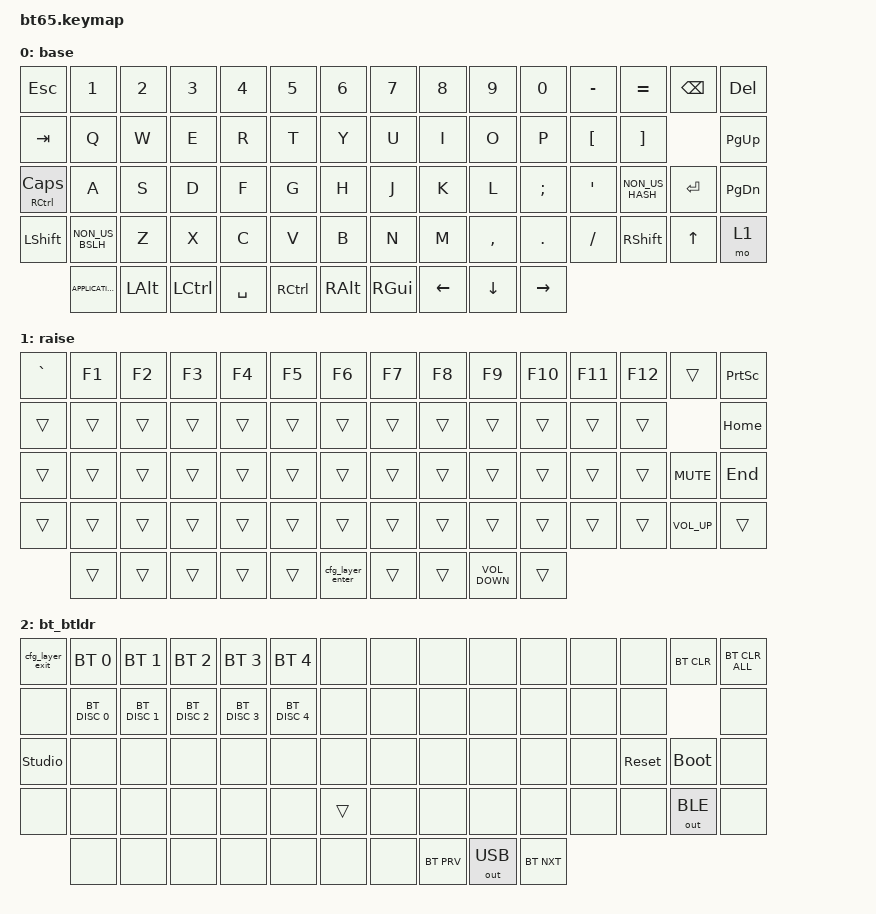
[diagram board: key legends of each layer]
#include <behaviors.dtsi>
#include <dt-bindings/zmk/backlight.h>
#include <dt-bindings/zmk/bt.h>
#include <dt-bindings/zmk/keys.h>
#include <dt-bindings/zmk/outputs.h>
#include <dt-bindings/zmk/rgb.h>

/ {
    combos { compatible = "zmk,combos"; };

    macros {
        lights_off: lights_off {
            compatible = "zmk,behavior-macro";
            #binding-cells = <0>;
            bindings = <&bl BL_OFF &rgb_ug RGB_OFF>;
            label = "lights_off";
        };

        lights_on: lights_on {
            compatible = "zmk,behavior-macro";
            #binding-cells = <0>;
            bindings = <&bl BL_ON &rgb_ug RGB_ON>;
            label = "LIGHTS_ON";
        };

        cfg_layer_exit: cfg_layer_exit {
            compatible = "zmk,behavior-macro";
            #binding-cells = <0>;
            bindings = <&bl BL_OFF &rgb_ug RGB_OFF &to 0>;
            label = "CFG_LAYER_EXIT";
        };

        cfg_layer_enter: cfg_layer_enter {
            compatible = "zmk,behavior-macro";
            #binding-cells = <0>;
            bindings = <&bl BL_ON &rgb_ug RGB_ON &to 2>;
            label = "CFG_LAYER_ENTER";
        };
    };

    behaviors {
        Space_FN: Space_FN {
            compatible = "zmk,behavior-hold-tap";
            bindings = <&mo>, <&kp>;

            #binding-cells = <2>;
            tapping-term-ms = <300>;
            flavor = "tap-preferred";
        };
    };

    keymap {
        compatible = "zmk,keymap";

        base {
            // ------------------------------------------------------------------------------------------------------------
            // |  `  |  1  |  2  |  3  |  4  |  5  |  6  |  7  |  8  |  9  |  0  |  -  |  =  |BKSP | INS		|
            // | TAB  |  Q  |  W  |  E  |  R  |  T  |  Y  |  U  |  I  |  O  |  P  |  [  |  ]  |   \    | DEL		|
            // | CAPS  |  A  |  S  |  D  |  F  |  G  |  H  |  J  |  K  |  L  |  ;  |  '  |     ENTER    |PGUP	|
            // |  SHIFT  |  Z  |  X  |  C  |  V  |  B  |  N  |  M  |  ,  |  .  | /   |   SHIFT  | UP   | PGDN|
            // |  CTL  |  WIN  |  ALT  |            SPACE               | ALT | 1    |  MENU| LEFT |  DOWN    | RIGHT	|
            // ------------------------------------------------------------------------------------------------------------

            bindings = <
&kp ESCAPE      &kp N1             &kp N2        &kp N3     &kp N4     &kp N5     &kp N6    &kp N7    &kp N8    &kp N9     &kp N0     &kp MINUS  &kp EQUAL        &kp BACKSPACE  &kp DEL
&kp TAB         &kp Q              &kp W         &kp E      &kp R      &kp T      &kp Y     &kp U     &kp I     &kp O      &kp P      &kp LBKT   &kp RBKT                        &kp PAGE_UP
&mt RCTRL CLCK  &kp A              &kp S         &kp D      &kp F      &kp G      &kp H     &kp J     &kp K     &kp L      &kp SEMI   &kp SQT    &kp NON_US_HASH  &kp RET        &kp PAGE_DOWN
&kp LSHFT       &kp NON_US_BSLH    &kp Z         &kp X      &kp C      &kp V      &kp B     &kp N     &kp M     &kp COMMA  &kp DOT    &kp FSLH   &kp RSHFT        &kp UP         &mo 1
                &kp K_APPLICATION  &kp LEFT_ALT  &kp LCTRL  &kp SPACE  &kp RCTRL  &kp RALT  &kp RGUI  &kp LEFT  &kp DOWN   &kp RIGHT
            >;
        };

        raise {
            bindings = <
&kp GRAVE  &kp F1  &kp F2  &kp F3  &kp F4  &kp F5  &kp F6            &kp F7  &kp F8  &kp F9             &kp F10  &kp F11  &kp F12  &trans           &kp PRINTSCREEN
&trans     &trans  &trans  &trans  &trans  &trans  &trans            &trans  &trans  &trans             &trans   &trans   &trans                    &kp HOME
&trans     &trans  &trans  &trans  &trans  &trans  &trans            &trans  &trans  &trans             &trans   &trans   &trans   &kp C_MUTE       &kp END
&trans     &trans  &trans  &trans  &trans  &trans  &trans            &trans  &trans  &trans             &trans   &trans   &trans   &kp C_VOLUME_UP  &trans
           &trans  &trans  &trans  &trans  &trans  &cfg_layer_enter  &trans  &trans  &kp C_VOLUME_DOWN  &trans
            >;
        };

        bt_btldr {
            bindings = <
&cfg_layer_exit  &bt BT_SEL 0   &bt BT_SEL 1   &bt BT_SEL 2   &bt BT_SEL 3   &bt BT_SEL 4   &none   &none  &none       &none         &none       &none  &none       &bt BT_CLR    &bt BT_CLR_ALL
&none            &bt BT_DISC 0  &bt BT_DISC 1  &bt BT_DISC 2  &bt BT_DISC 3  &bt BT_DISC 4  &none   &none  &none       &none         &none       &none  &none                     &none
&studio_unlock   &none          &none          &none          &none          &none          &none   &none  &none       &none         &none       &none  &sys_reset  &bootloader   &none
&none            &none          &none          &none          &none          &none          &trans  &none  &none       &none         &none       &none  &none       &out OUT_BLE  &none
                 &none          &none          &none          &none          &none          &none   &none  &bt BT_PRV  &out OUT_USB  &bt BT_NXT
            >;
        };
    };
};
